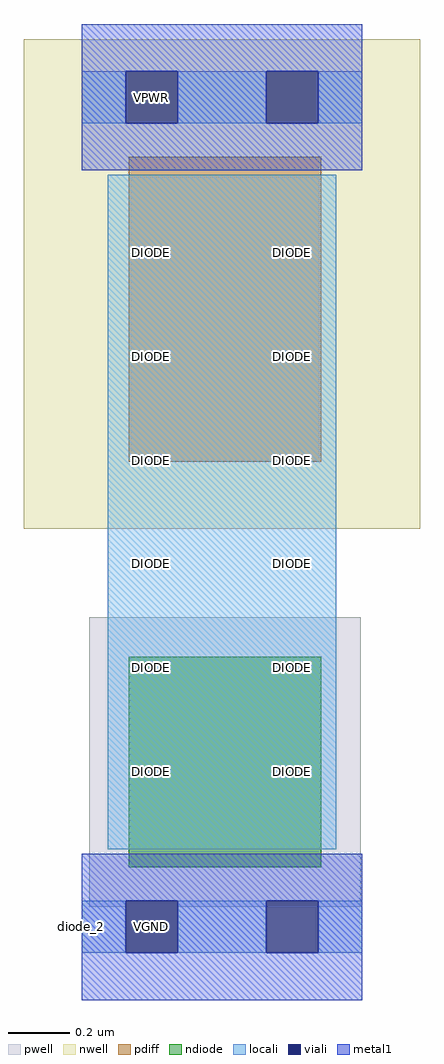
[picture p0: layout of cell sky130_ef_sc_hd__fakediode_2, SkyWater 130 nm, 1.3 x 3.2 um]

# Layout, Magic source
magic
tech sky130A
magscale 1 2
<< nwell >>
rect -38 261 222 582
<< pwell >>
rect 5 13 183 203
rect 29 -17 63 13
<< pdiff >>
rect 31 305 157 505
<< ndiode >>
rect 31 39 157 177
<< locali >>
rect 0 527 29 561
rect 63 527 121 561
rect 155 527 184 561
rect 17 51 167 493
rect 0 -17 29 17
rect 63 -17 121 17
rect 155 -17 184 17
<< viali >>
rect 29 527 63 561
rect 121 527 155 561
rect 29 -17 63 17
rect 121 -17 155 17
<< metal1 >>
rect 0 561 184 592
rect 0 527 29 561
rect 63 527 121 561
rect 155 527 184 561
rect 0 496 184 527
rect 0 17 184 48
rect 0 -17 29 17
rect 63 -17 121 17
rect 155 -17 184 17
rect 0 -48 184 -17
<< labels >>
flabel locali s 121 85 155 119 0 FreeSans 200 0 0 0 DIODE
port 1 nsew signal input
flabel locali s 121 357 155 391 0 FreeSans 200 0 0 0 DIODE
port 1 nsew signal input
flabel locali s 29 357 63 391 0 FreeSans 200 0 0 0 DIODE
port 1 nsew signal input
flabel locali s 121 425 155 459 0 FreeSans 200 0 0 0 DIODE
port 1 nsew signal input
flabel locali s 29 425 63 459 0 FreeSans 200 0 0 0 DIODE
port 1 nsew signal input
flabel locali s 29 289 63 323 0 FreeSans 200 0 0 0 DIODE
port 1 nsew signal input
flabel locali s 121 289 155 323 0 FreeSans 200 0 0 0 DIODE
port 1 nsew signal input
flabel locali s 29 221 63 255 0 FreeSans 200 0 0 0 DIODE
port 1 nsew signal input
flabel locali s 121 221 155 255 0 FreeSans 200 0 0 0 DIODE
port 1 nsew signal input
flabel locali s 121 153 155 187 0 FreeSans 200 0 0 0 DIODE
port 1 nsew signal input
flabel locali s 29 153 63 187 0 FreeSans 200 0 0 0 DIODE
port 1 nsew signal input
flabel locali s 29 85 63 119 0 FreeSans 200 0 0 0 DIODE
port 1 nsew signal input
flabel metal1 s 29 -17 63 17 0 FreeSans 200 0 0 0 VGND
port 2 nsew ground bidirectional abutment
flabel metal1 s 29 527 63 561 0 FreeSans 200 0 0 0 VPWR
port 3 nsew power bidirectional abutment
flabel nwell s 29 527 63 561 0 FreeSans 200 0 0 0 VPB
port 4 nsew power bidirectional
flabel pwell s 29 -17 63 17 0 FreeSans 200 0 0 0 VNB
port 5 nsew ground bidirectional
rlabel comment s 0 0 0 0 4 diode_2
<< properties >>
string LEFsite unithd
string LEFclass CORE SPACER
string FIXED_BBOX 0 0 184 544
string GDS_FILE $PDKPATH/libs.ref/sky130_fd_sc_hd/gds/sky130_fd_sc_hd.gds
string LEFsymmetry X Y R90
string GDS_END 3954310
string GDS_START 3951072
string path 0.000 0.000 4.600 0.000 
<< end >>
